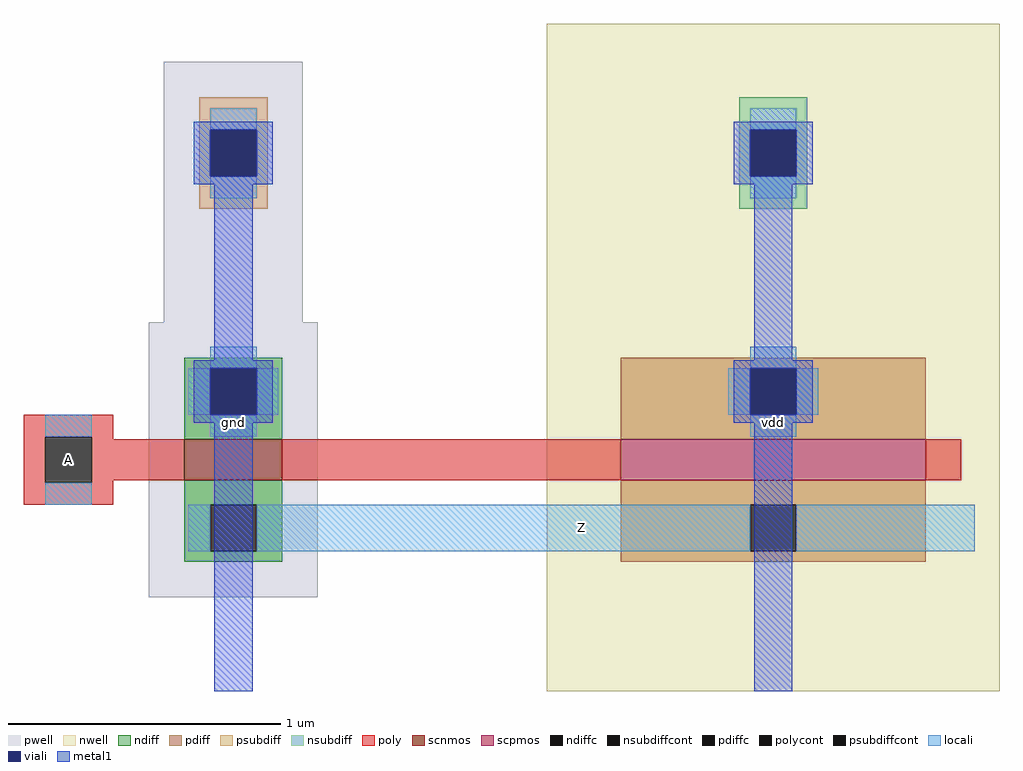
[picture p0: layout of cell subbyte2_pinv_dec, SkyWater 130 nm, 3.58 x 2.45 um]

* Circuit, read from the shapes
.subckt subbyte2_pinv_dec A Z gnd vdd
XM1 gnd A Z gnd sky130_fd_pr__nfet_01v8 w=0.36 l=0.15
XM2 vdd A Z vdd sky130_fd_pr__pfet_01v8 w=1.12 l=0.15
.ends

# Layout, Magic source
magic
tech sky130A
magscale 1 2
<< nwell >>
rect 428 0 760 490
<< pwell >>
rect 147 271 249 462
rect 136 69 260 271
<< scnmos >>
rect 162 155 234 185
<< scpmos >>
rect 482 155 706 185
<< ndiff >>
rect 162 237 234 245
rect 162 203 181 237
rect 215 203 234 237
rect 162 185 234 203
rect 162 137 234 155
rect 162 103 181 137
rect 215 103 234 137
rect 162 95 234 103
<< pdiff >>
rect 482 237 706 245
rect 482 203 577 237
rect 611 203 706 237
rect 482 185 706 203
rect 482 137 706 155
rect 482 103 577 137
rect 611 103 706 137
rect 482 95 706 103
<< ndiffc >>
rect 181 203 215 237
rect 181 103 215 137
<< pdiffc >>
rect 577 203 611 237
rect 577 103 611 137
<< psubdiff >>
rect 173 412 223 436
rect 173 378 181 412
rect 215 378 223 412
rect 173 354 223 378
<< nsubdiff >>
rect 569 412 619 436
rect 569 378 577 412
rect 611 378 619 412
rect 569 354 619 378
<< psubdiffcont >>
rect 181 378 215 412
<< nsubdiffcont >>
rect 577 378 611 412
<< poly >>
rect 44 187 110 203
rect 44 153 60 187
rect 94 185 110 187
rect 94 155 162 185
rect 234 155 482 185
rect 706 155 732 185
rect 94 153 110 155
rect 44 137 110 153
<< polycont >>
rect 60 153 94 187
<< locali >>
rect 181 412 215 428
rect 181 362 215 378
rect 577 412 611 428
rect 577 362 611 378
rect 181 237 215 253
rect 577 237 611 253
rect 165 203 181 237
rect 215 203 231 237
rect 561 203 577 237
rect 611 203 627 237
rect 60 187 94 203
rect 181 187 215 203
rect 577 187 611 203
rect 60 137 94 153
rect 165 103 181 137
rect 215 103 577 137
rect 611 103 742 137
<< viali >>
rect 181 378 215 412
rect 577 378 611 412
rect 181 203 215 237
rect 577 203 611 237
<< metal1 >>
rect 169 412 227 418
rect 169 378 181 412
rect 215 378 227 412
rect 169 372 227 378
rect 565 412 623 418
rect 565 378 577 412
rect 611 378 623 412
rect 565 372 623 378
rect 184 243 212 372
rect 580 243 608 372
rect 169 237 227 243
rect 169 203 181 237
rect 215 203 227 237
rect 169 197 227 203
rect 565 237 623 243
rect 565 203 577 237
rect 611 203 623 237
rect 565 197 623 203
rect 184 0 212 197
rect 580 0 608 197
<< labels >>
rlabel locali s 77 170 77 170 4 A
port 2 nsew
rlabel locali s 453 120 453 120 4 Z
port 3 nsew
rlabel metal1 s 184 0 212 395 4 gnd
port 5 nsew
rlabel metal1 s 580 0 608 395 4 vdd
port 7 nsew
<< properties >>
string FIXED_BBOX 0 0 742 41
<< end >>
